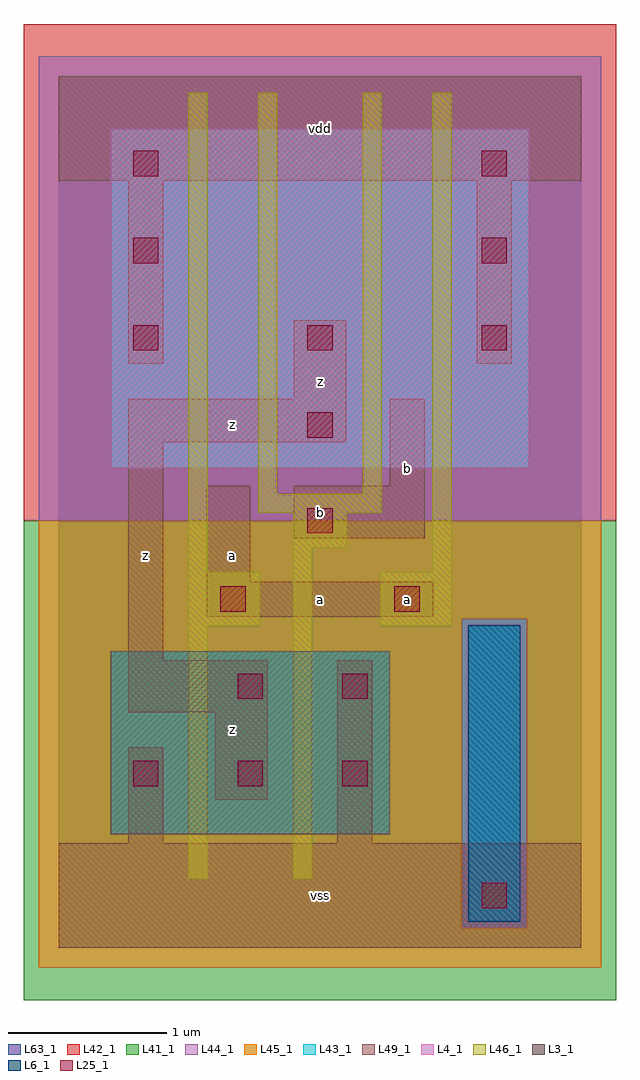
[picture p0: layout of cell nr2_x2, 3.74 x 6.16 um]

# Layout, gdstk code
import gdstk
lib = gdstk.Library(unit=1e-6, precision=1e-09)
def R(c, l, rs):  # rectangles x0, y0, x1, y1
    for r in rs: c.add(gdstk.rectangle(r[:2], r[2:], *l))
def A(c, l, x, y, w, h, nx, ny, dx, dy):  # array of equal rectangles
    R(c, l, [(x+i*dx, y+j*dy, x+i*dx+w, y+j*dy+h) for i in range(nx) for j in range(ny)])
L3_1 = (3, 1)
L4_1 = (4, 1)
L6_1 = (6, 1)
L25_1 = (25, 1)
L41_1 = (41, 1)
L42_1 = (42, 1)
L43_1 = (43, 1)
L44_1 = (44, 1)
L45_1 = (45, 1)
L46_1 = (46, 1)
L49_1 = (49, 1)
L63_1 = (63, 1)

nr2_x2 = lib.new_cell('nr2_x2')
R(nr2_x2, L3_1, [(0.33,0.715,2.09,1.87)])
R(nr2_x2, L4_1, [(0.33,3.025,2.97,5.17)])
R(nr2_x2, L6_1, [(2.585,0.165,2.915,2.035)])
A(nr2_x2, L25_1, 0.47, 1.02, 0.16, 0.16, 3, 1, 0.66, 0)
A(nr2_x2, L25_1, 0.47, 3.77, 0.16, 0.16, 3, 1, 1.1, 0)
R(nr2_x2, L25_1, [(2.67,0.25,2.83,0.41), (1.13,1.57,1.29,1.73), (1.79,1.57,1.95,1.73), (1.02,2.12,1.18,2.28), (2.12,2.12,2.28,2.28), (1.57,2.615,1.73,2.775), (1.57,3.22,1.73,3.38), (0.47,4.32,0.63,4.48), (2.67,4.32,2.83,4.48), (0.47,4.87,0.63,5.03), (2.67,4.87,2.83,5.03)])
R(nr2_x2, L41_1, [(-0.22,-0.33,3.52,2.695)])
R(nr2_x2, L42_1, [(-0.22,2.695,3.52,5.83)])
R(nr2_x2, L43_1, [(2.585,0.165,2.915,2.035), (0.33,0.715,2.09,1.87), (0.33,3.025,2.97,5.17)])
R(nr2_x2, L44_1, [(2.545,0.125,2.955,2.075), (-0.125,2.695,3.425,5.625)])
R(nr2_x2, L45_1, [(-0.125,-0.125,3.425,0.125), (-0.125,0.125,2.545,2.075), (2.955,0.125,3.425,2.075), (-0.125,2.075,3.425,2.695)])
R(nr2_x2, L46_1, [(0.82,0.435,0.94,2.03), (1.48,0.435,1.6,2.525), (0.82,2.03,1.27,2.37), (2.03,2.03,2.48,2.37), (0.82,2.37,0.94,5.395), (2.36,2.37,2.48,5.395), (1.48,2.525,1.82,2.745), (1.26,2.745,2.04,2.865), (1.26,2.865,1.38,5.395), (1.92,2.865,2.04,5.395)])
R(nr2_x2, L49_1, [(0,0,3.3,0.66), (0.44,0.66,0.66,1.265), (1.76,0.66,1.98,1.815), (0.99,0.935,1.32,1.485), (0.44,1.485,1.32,1.815), (0.44,1.815,0.66,3.19), (0.935,2.09,2.365,2.31), (0.935,2.31,1.21,2.915), (1.485,2.585,2.31,2.915), (2.09,2.915,2.31,3.465), (0.44,3.19,1.815,3.465), (1.485,3.465,1.815,3.96), (0.44,3.685,0.66,4.84), (2.64,3.685,2.86,4.84), (0,4.84,3.3,5.5)])
R(nr2_x2, L63_1, [(0,0,3.3,5.5)])
nr2_x2.add(gdstk.Label('z', (0.55,2.475), layer=49, texttype=1))
nr2_x2.add(gdstk.Label('z', (0.55,2.475), layer=49, texttype=1))
nr2_x2.add(gdstk.Label('z', (1.1,1.375), layer=49, texttype=1))
nr2_x2.add(gdstk.Label('z', (1.1,1.375), layer=49, texttype=1))
nr2_x2.add(gdstk.Label('a', (1.1,2.475), layer=49, texttype=1))
nr2_x2.add(gdstk.Label('a', (1.1,2.475), layer=49, texttype=1))
nr2_x2.add(gdstk.Label('z', (1.1,3.3), layer=49, texttype=1))
nr2_x2.add(gdstk.Label('z', (1.1,3.3), layer=49, texttype=1))
nr2_x2.add(gdstk.Label('vss', (1.65,0.33), layer=49, texttype=1))
nr2_x2.add(gdstk.Label('vss', (1.65,0.33), layer=49, texttype=1))
nr2_x2.add(gdstk.Label('a', (1.65,2.2), layer=49, texttype=1))
nr2_x2.add(gdstk.Label('a', (1.65,2.2), layer=49, texttype=1))
nr2_x2.add(gdstk.Label('a', (2.2,2.2), layer=49, texttype=1))
nr2_x2.add(gdstk.Label('a', (2.2,2.2), layer=49, texttype=1))
nr2_x2.add(gdstk.Label('b', (1.65,2.75), layer=49, texttype=1))
nr2_x2.add(gdstk.Label('b', (1.65,2.75), layer=49, texttype=1))
nr2_x2.add(gdstk.Label('z', (1.65,3.575), layer=49, texttype=1))
nr2_x2.add(gdstk.Label('z', (1.65,3.575), layer=49, texttype=1))
nr2_x2.add(gdstk.Label('b', (2.2,3.025), layer=49, texttype=1))
nr2_x2.add(gdstk.Label('b', (2.2,3.025), layer=49, texttype=1))
nr2_x2.add(gdstk.Label('vdd', (1.65,5.17), layer=49, texttype=1))
nr2_x2.add(gdstk.Label('vdd', (1.65,5.17), layer=49, texttype=1))

lib.write_gds('nr2_x2.gds')
